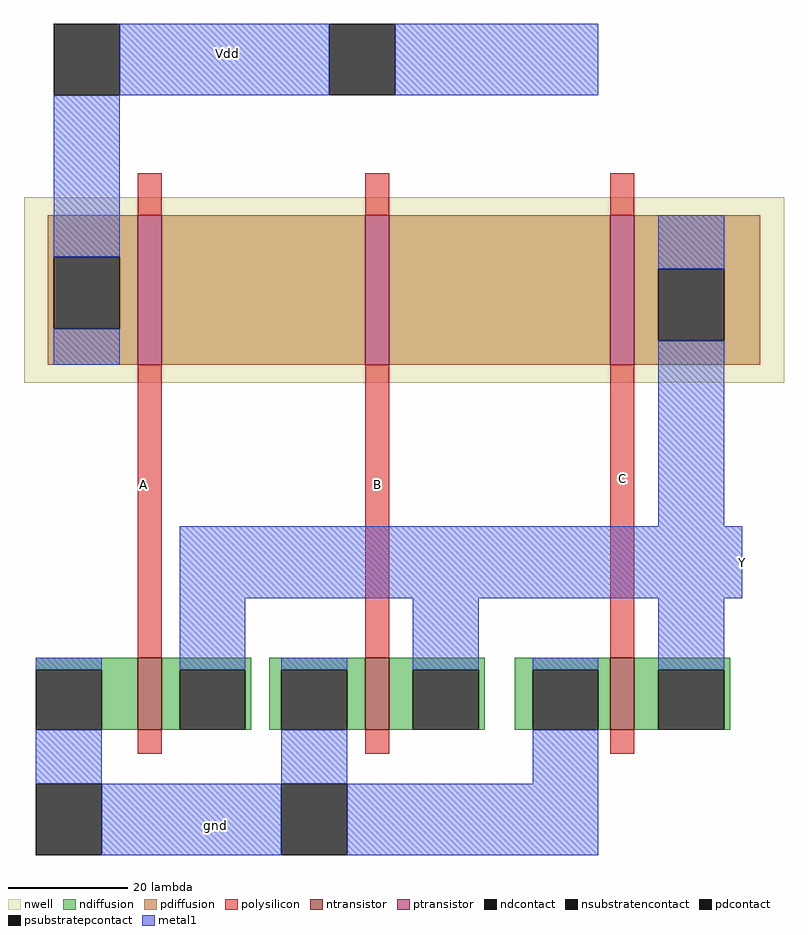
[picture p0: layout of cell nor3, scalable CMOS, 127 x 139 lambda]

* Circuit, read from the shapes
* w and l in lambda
.subckt nor3 A B C Vdd Y gnd
M1 Y A gnd gnd nfet w=12 l=4
M2 Y B gnd gnd nfet w=12 l=4
M3 Y C gnd gnd nfet w=12 l=4
M4 n1 A Vdd n2 pfet w=25 l=4
M5 n3 B n1 n2 pfet w=25 l=4
M6 Y C n3 n2 pfet w=25 l=4
.ends

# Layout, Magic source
magic
tech scmos
<< nwell >>
rect -62 36 65 67
<< polysilicon >>
rect -43 64 -39 71
rect -5 64 -1 71
rect 36 64 40 71
rect -43 -10 -39 39
rect -5 -10 -1 39
rect 36 -10 40 39
rect -43 -26 -39 -22
rect -5 -26 -1 -22
rect 36 -26 40 -22
<< ndiffusion >>
rect -60 -12 -43 -10
rect -49 -22 -43 -12
rect -39 -12 -24 -10
rect -39 -22 -36 -12
rect -25 -22 -24 -12
rect -21 -12 -5 -10
rect -21 -22 -19 -12
rect -8 -22 -5 -12
rect -1 -12 15 -10
rect -1 -22 3 -12
rect 14 -22 15 -12
rect 20 -12 36 -10
rect 20 -22 23 -12
rect 34 -22 36 -12
rect 40 -12 56 -10
rect 40 -22 44 -12
rect 55 -22 56 -12
<< pdiffusion >>
rect -58 57 -43 64
rect -58 45 -57 57
rect -46 45 -43 57
rect -58 39 -43 45
rect -39 39 -5 64
rect -1 39 36 64
rect 40 55 61 64
rect 40 43 44 55
rect 55 43 61 55
rect 40 39 61 43
<< metal1 >>
rect -46 84 -11 96
rect 0 84 34 96
rect -57 57 -46 84
rect -57 39 -46 45
rect 44 55 55 64
rect 44 12 55 43
rect -36 0 58 12
rect -60 -12 -49 -10
rect -36 -12 -25 0
rect -19 -12 -8 -10
rect 3 -12 14 0
rect 23 -12 34 -10
rect 44 -12 55 0
rect -60 -31 -49 -22
rect -19 -31 -8 -22
rect 23 -31 34 -22
rect -49 -43 -19 -31
rect -8 -43 34 -31
<< ntransistor >>
rect -43 -22 -39 -10
rect -5 -22 -1 -10
rect 36 -22 40 -10
<< ptransistor >>
rect -43 39 -39 64
rect -5 39 -1 64
rect 36 39 40 64
<< ndcontact >>
rect -60 -22 -49 -12
rect -36 -22 -25 -12
rect -19 -22 -8 -12
rect 3 -22 14 -12
rect 23 -22 34 -12
rect 44 -22 55 -12
<< pdcontact >>
rect -57 45 -46 57
rect 44 43 55 55
<< psubstratepcontact >>
rect -60 -43 -49 -31
rect -19 -43 -8 -31
<< nsubstratencontact >>
rect -57 84 -46 96
rect -11 84 0 96
<< labels >>
rlabel metal1 -28 91 -28 91 5 Vdd
rlabel metal1 -30 -38 -30 -38 1 gnd
rlabel polysilicon -42 19 -42 19 1 A
rlabel polysilicon -3 19 -3 19 1 B
rlabel polysilicon 38 20 38 20 1 C
rlabel metal1 58 0 58 12 1 Y
<< end >>
